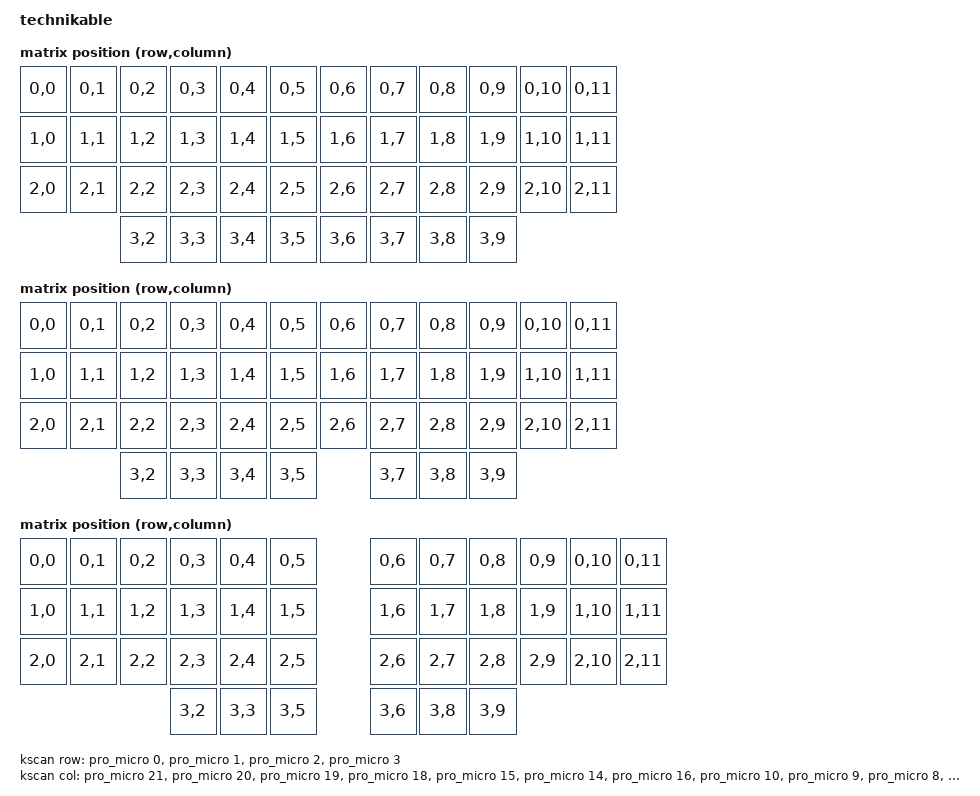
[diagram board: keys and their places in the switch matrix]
/*
 * Copyright (c) 2022 Pete Johanson
 *
 * SPDX-License-Identifier: MIT
 */

/dts-v1/;
#include <nordic/nrf52840_qiaa.dtsi>
#include <dt-bindings/zmk/matrix_transform.h>

/ {
	model = "technikable";
	compatible = "petejohanson,technikable";

	chosen {
		zephyr,code-partition = &code_partition;
		zephyr,sram = &sram0;
		zephyr,flash = &flash0;
		zmk,kscan = &kscan;
		zmk,matrix_transform = &ortho_transform;
		zmk,battery = &vbatt;
		zephyr,console = &cdc_acm_uart0;
	};

	aliases {
		led0 = &blue_led;
	};

	leds {
		compatible = "gpio-leds";
		blue_led: led_0 {
			gpios = <&gpio1 2 GPIO_ACTIVE_HIGH>;
			label = "Blue LED";
		};
	};

	vbatt: vbatt {
		compatible = "zmk,battery-nrf-vddh";
		label = "BATTERY";
	};

	ortho_transform: ortho_transform {
		compatible = "zmk,matrix-transform";
		rows = <4>;
		columns = <12>;

		map = <
	RC(0,0) RC(0,1) RC(0,2) RC(0,3) RC(0,4) RC(0,5) RC(0,6) RC(0,7) RC(0,8) RC(0,9) RC(0,10) RC(0,11)
	RC(1,0) RC(1,1) RC(1,2) RC(1,3) RC(1,4) RC(1,5) RC(1,6) RC(1,7) RC(1,8) RC(1,9) RC(1,10) RC(1,11)
	RC(2,0) RC(2,1) RC(2,2) RC(2,3) RC(2,4) RC(2,5) RC(2,6) RC(2,7) RC(2,8) RC(2,9) RC(2,10) RC(2,11)
	                RC(3,2) RC(3,3) RC(3,4) RC(3,5) RC(3,6) RC(3,7) RC(3,8) RC(3,9)
	>;
	};

	mit_transform: mit_transform {
		compatible = "zmk,matrix-transform";
		rows = <4>;
		columns = <12>;

		map = <
	RC(0,0) RC(0,1) RC(0,2) RC(0,3) RC(0,4) RC(0,5) RC(0,6) RC(0,7) RC(0,8) RC(0,9) RC(0,10) RC(0,11)
	RC(1,0) RC(1,1) RC(1,2) RC(1,3) RC(1,4) RC(1,5) RC(1,6) RC(1,7) RC(1,8) RC(1,9) RC(1,10) RC(1,11)
	RC(2,0) RC(2,1) RC(2,2) RC(2,3) RC(2,4) RC(2,5) RC(2,6) RC(2,7) RC(2,8) RC(2,9) RC(2,10) RC(2,11)
	                RC(3,2) RC(3,3) RC(3,4)     RC(3,5)     RC(3,7) RC(3,8) RC(3,9)
	>;
	};

	dual_2u_transform: dual_2u_transform {
		compatible = "zmk,matrix-transform";
		rows = <4>;
		columns = <12>;

		map = <
	RC(0,0) RC(0,1) RC(0,2) RC(0,3) RC(0,4) RC(0,5) RC(0,6) RC(0,7) RC(0,8) RC(0,9) RC(0,10) RC(0,11)
	RC(1,0) RC(1,1) RC(1,2) RC(1,3) RC(1,4) RC(1,5) RC(1,6) RC(1,7) RC(1,8) RC(1,9) RC(1,10) RC(1,11)
	RC(2,0) RC(2,1) RC(2,2) RC(2,3) RC(2,4) RC(2,5) RC(2,6) RC(2,7) RC(2,8) RC(2,9) RC(2,10) RC(2,11)
	                RC(3,2) RC(3,3)     RC(3,5)         RC(3,6)     RC(3,8) RC(3,9)
	>;
	};
	
	kscan: kscan {
		compatible = "zmk,kscan-gpio-matrix";
		label = "KSCAN";
		debounce-press-ms = <1>;
		debounce-release-ms = <5>;

		diode-direction = "col2row";

		col-gpios
			= <&pro_micro 21 GPIO_ACTIVE_HIGH>
            , <&pro_micro 20 GPIO_ACTIVE_HIGH>
            , <&pro_micro 19 GPIO_ACTIVE_HIGH>
            , <&pro_micro 18 GPIO_ACTIVE_HIGH>
            , <&pro_micro 15 GPIO_ACTIVE_HIGH>
            , <&pro_micro 14 GPIO_ACTIVE_HIGH>
            , <&pro_micro 16 GPIO_ACTIVE_HIGH>
            , <&pro_micro 10 GPIO_ACTIVE_HIGH>
            , <&pro_micro 9 GPIO_ACTIVE_HIGH>
            , <&pro_micro 8 GPIO_ACTIVE_HIGH>
            , <&pro_micro 7 GPIO_ACTIVE_HIGH>
            , <&pro_micro 6 GPIO_ACTIVE_HIGH>
			;
		row-gpios
			= <&pro_micro 0 (GPIO_ACTIVE_HIGH | GPIO_PULL_DOWN)>
            , <&pro_micro 1 (GPIO_ACTIVE_HIGH | GPIO_PULL_DOWN)>
            , <&pro_micro 2 (GPIO_ACTIVE_HIGH | GPIO_PULL_DOWN)>
            , <&pro_micro 3 (GPIO_ACTIVE_HIGH | GPIO_PULL_DOWN)>
			;
	};
};
